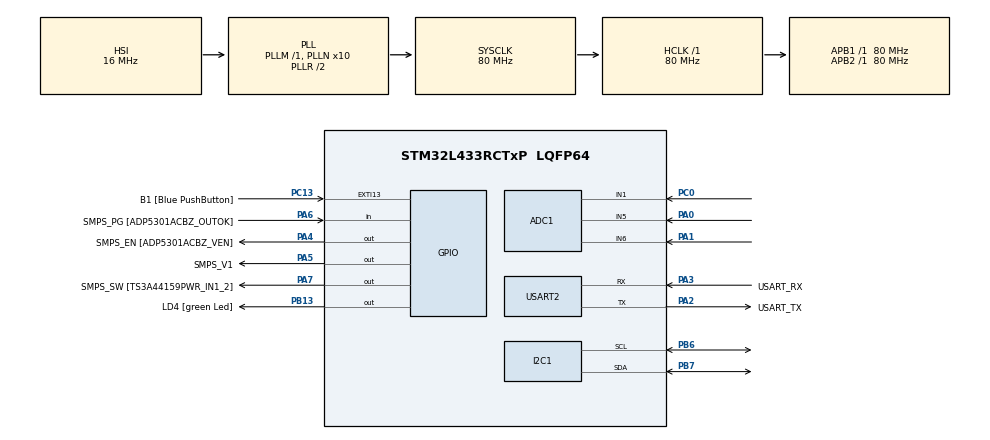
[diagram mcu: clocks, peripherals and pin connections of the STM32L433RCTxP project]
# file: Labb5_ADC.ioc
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ADC1.Channel-0\#ChannelRegularConversion=ADC_CHANNEL_5
ADC1.Channel-1\#ChannelRegularConversion=ADC_CHANNEL_6
ADC1.Channel-2\#ChannelRegularConversion=ADC_CHANNEL_1
ADC1.ContinuousConvMode=ENABLE
ADC1.NbrOfConversion=3
ADC1.NbrOfConversionFlag=1
ADC1.OffsetNumber-0\#ChannelRegularConversion=ADC_OFFSET_NONE
ADC1.OffsetNumber-1\#ChannelRegularConversion=ADC_OFFSET_NONE
ADC1.OffsetNumber-2\#ChannelRegularConversion=ADC_OFFSET_NONE
ADC1.Rank-0\#ChannelRegularConversion=1
ADC1.Rank-1\#ChannelRegularConversion=2
ADC1.Rank-2\#ChannelRegularConversion=3
ADC1.SamplingTime-0\#ChannelRegularConversion=ADC_SAMPLETIME_640CYCLES_5
ADC1.SamplingTime-1\#ChannelRegularConversion=ADC_SAMPLETIME_640CYCLES_5
ADC1.SamplingTime-2\#ChannelRegularConversion=ADC_SAMPLETIME_640CYCLES_5
ADC1.master=1
I2C1.Timing=0x10D19CE4
Mcu.Family=STM32L4
Mcu.Name=STM32L433RCTxP
Mcu.Package=LQFP64
NVIC.ADC1_IRQn=true\:0\:0\:false\:false\:true\:true\:true\:true
NVIC.PriorityGroup=NVIC_PRIORITYGROUP_4
PA0.Signal=ADCx_IN5
PA1.Signal=ADCx_IN6
PA13\ (JTMS-SWDIO).GPIO_Label=TMS
PA13\ (JTMS-SWDIO).Mode=Serial_Wire
PA13\ (JTMS-SWDIO).Signal=SYS_JTMS-SWDIO
PA14\ (JTCK-SWCLK).GPIO_Label=TCK
PA14\ (JTCK-SWCLK).Mode=Serial_Wire
PA14\ (JTCK-SWCLK).Signal=SYS_JTCK-SWCLK
PA2.GPIO_Label=USART_TX
PA2.GPIO_Mode=GPIO_MODE_AF_PP
PA2.GPIO_PuPd=GPIO_NOPULL
PA2.GPIO_Speed=GPIO_SPEED_FREQ_VERY_HIGH
PA2.Mode=Asynchronous
PA2.Signal=USART2_TX
PA3.GPIO_Label=USART_RX
PA3.GPIO_Mode=GPIO_MODE_AF_PP
PA3.GPIO_PuPd=GPIO_NOPULL
PA3.GPIO_Speed=GPIO_SPEED_FREQ_VERY_HIGH
PA3.Mode=Asynchronous
PA3.Signal=USART2_RX
PA4.GPIO_Label=SMPS_EN [ADP5301ACBZ_VEN]
PA4.Signal=GPIO_Output
PA5.GPIO_Label=SMPS_V1
PA5.GPIO_ModeDefaultOutputPP=GPIO_MODE_OUTPUT_PP
PA5.GPIO_PuPd=GPIO_NOPULL
PA5.GPIO_Speed=GPIO_SPEED_FREQ_LOW
PA5.Signal=GPIO_Output
PA6.GPIO_Label=SMPS_PG [ADP5301ACBZ_OUTOK]
PA6.GPIO_PuPd=GPIO_PULLUP
PA6.Signal=GPIO_Input
PA7.GPIO_Label=SMPS_SW [TS3A44159PWR_IN1_2]
PA7.Signal=GPIO_Output
PB13.GPIO_Label=LD4 [green Led]
PB13.Signal=GPIO_Output
PB3\ (JTDO-TRACESWO).GPIO_Label=SWO
PB3\ (JTDO-TRACESWO).Signal=SYS_JTDO-SWO
PB6.Mode=I2C
PB6.Signal=I2C1_SCL
PB7.Mode=I2C
PB7.Signal=I2C1_SDA
PC0.Signal=ADCx_IN1
PC13.GPIO_Label=B1 [Blue PushButton]
PC13.GPIO_ModeDefaultEXTI=GPIO_MODE_IT_FALLING
PC13.GPIO_PuPd=GPIO_NOPULL
PC13.Signal=GPXTI13
PC14-OSC32_IN\ (PC14).Mode=LSE-External-Oscillator
PC14-OSC32_IN\ (PC14).Signal=RCC_OSC32_IN
PC15-OSC32_OUT\ (PC15).Mode=LSE-External-Oscillator
PC15-OSC32_OUT\ (PC15).Signal=RCC_OSC32_OUT
PH0-OSC_IN\ (PH0).GPIO_Label=MCO
PH0-OSC_IN\ (PH0).Mode=HSE-External-Clock-Source
PH0-OSC_IN\ (PH0).Signal=RCC_OSC_IN
PH1-OSC_OUT\ (PH1).Signal=RCC_OSC_OUT
ProjectManager.HeapSize=0x200
ProjectManager.StackSize=0x400
ProjectManager.TargetToolchain=STM32CubeIDE
RCC.ADCFreq_Value=64000000
RCC.AHBFreq_Value=80000000
RCC.APB1Freq_Value=80000000
RCC.APB1TimFreq_Value=80000000
RCC.APB2Freq_Value=80000000
RCC.APB2TimFreq_Value=80000000
RCC.CortexFreq_Value=80000000
RCC.HCLKFreq_Value=80000000
RCC.HSE_VALUE=8000000
RCC.HSI48_VALUE=48000000
RCC.HSI_VALUE=16000000
RCC.MSI_VALUE=4000000
RCC.PLLN=10
RCC.PLLSourceVirtual=RCC_PLLSOURCE_HSI
RCC.PREFETCH_ENABLE=1
RCC.SYSCLKFreq_VALUE=80000000
RCC.SYSCLKSource=RCC_SYSCLKSOURCE_PLLCLK
RCC.USBFreq_Value=64000000
RCC.VCOOutputFreq_Value=160000000
SH.ADCx_IN1.0=ADC1_IN1,IN1-Single-Ended
SH.ADCx_IN5.0=ADC1_IN5,IN5-Single-Ended
SH.ADCx_IN6.0=ADC1_IN6,IN6-Single-Ended
TIM2.Prescaler=79
USART2.VirtualMode-Asynchronous=VM_ASYNC
VP_TIM2_VS_ClockSourceINT.Mode=Internal
board=NUCLEO-L433RC-P

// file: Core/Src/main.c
/* USER CODE BEGIN Header */
/**
 ******************************************************************************
 * @file           : main.c
 * @brief          : Main program body
 ******************************************************************************
 * @attention
 *
 * Copyright (c) 2025 STMicroelectronics.
 * All rights reserved.
 *
 * This software is licensed under terms that can be found in the LICENSE file
 * in the root directory of this software component.
 * If no LICENSE file comes with this software, it is provided AS-IS.
 *
 ******************************************************************************
 */
/* USER CODE END Header */
#include "main.h"

/* USER CODE BEGIN Includes */
#include "lcd.h"
#include <stdio.h>
/* USER CODE END Includes */

ADC_HandleTypeDef hadc1;

I2C_HandleTypeDef hi2c1;

TIM_HandleTypeDef htim2;

UART_HandleTypeDef huart2;

void SystemClock_Config(void);
static void MX_GPIO_Init(void);
static void MX_USART2_UART_Init(void);
static void MX_ADC1_Init(void);
static void MX_I2C1_Init(void);
static void MX_TIM2_Init(void);
/* USER CODE BEGIN PFP */
uint32_t reading = 0;
TextLCDType lcd;
uint16_t x = 0;
uint8_t	ADCSET  = 0;

#define ADC_BUF_SIZE 3
uint16_t adc_buffer[ADC_BUF_SIZE];
int adc_buf_ix = 0;

#define JOY_X_IX 0
#define JOY_Y_IX 1
#define FOTO_IX 2
float xi;
float y;
float light;
/* USER CODE END PFP */

/* USER CODE BEGIN 0 */
uint16_t read_one_adc_value(ADC_HandleTypeDef * hadc)
{
	HAL_ADC_Start(hadc);
	HAL_ADC_PollForConversion(hadc, 100); // timeout = 100 ms
	uint32_t value = HAL_ADC_GetValue(hadc);
	HAL_ADC_Stop(hadc);
	return (uint16_t)value;
}
float normalize_12bit(uint16_t x) {
	return (float)x / 4095.0f;
}
float normalize_12bit_posneg(uint16_t x) {
	return ((float)x - 2048.0f) / 2047.0f;
}
void HAL_ADC_ConvCpltCallback(ADC_HandleTypeDef *hadc){
	if(hadc->Instance == ADC1){
		static uint8_t value = 0;
		adc_buffer[value] = HAL_ADC_GetValue(hadc);
		value = (value +1 ) % ADC_BUF_SIZE;
		ADCSET = 1;
	}
}
/* USER CODE END 0 */

int main(void)
{

  /* MCU Configuration--------------------------------------------------------*/

  /* Reset of all peripherals, Initializes the Flash interface and the Systick. */
  HAL_Init();

  /* Configure the system clock */
  SystemClock_Config();

  /* Initialize all configured peripherals */
  MX_GPIO_Init();
  MX_USART2_UART_Init();
  MX_ADC1_Init();
  MX_I2C1_Init();
  MX_TIM2_Init();
  /* USER CODE BEGIN 2 */
  	HAL_TIM_Base_Start(&htim2);
	//uint16_t adc_val = read_one_adc_value(&hadc1);
  	HAL_ADC_Start_IT(&hadc1);
	TextLCD_Init(&lcd, &hi2c1,0x4E);
  /* USER CODE END 2 */

  /* Infinite loop */
  /* USER CODE BEGIN WHILE */
	while (1)
	{
		if(ADCSET)
		{
		 xi = normalize_12bit_posneg(adc_buffer[JOY_X_IX]);
		 y = normalize_12bit_posneg(adc_buffer[JOY_Y_IX]);
		 light = normalize_12bit(adc_buffer[FOTO_IX]);

		char line[16];

		TextLCD_Position(&lcd, 0, 0);
		sprintf(line, "X:%+.2f Y:%+.2f", xi, y);
		TextLCD_PutStr(&lcd ,line);
		HAL_Delay(60);
		TextLCD_Position(&lcd, 0,1);
		sprintf(line, "Lj:%0.3f       ", light);
		TextLCD_PutStr(&lcd ,line);

		ADCSET = 0;
		HAL_Delay(500);
		}
    /* USER CODE END WHILE */

	}
}

void SystemClock_Config(void)
{
  RCC_OscInitTypeDef RCC_OscInitStruct = {0};
  RCC_ClkInitTypeDef RCC_ClkInitStruct = {0};

  /** Configure the main internal regulator output voltage
  */
  if (HAL_PWREx_ControlVoltageScaling(PWR_REGULATOR_VOLTAGE_SCALE1) != HAL_OK)
  {
    Error_Handler();
  }

  /** Initializes the RCC Oscillators according to the specified parameters
  * in the RCC_OscInitTypeDef structure.
  */
  RCC_OscInitStruct.OscillatorType = RCC_OSCILLATORTYPE_HSI;
  RCC_OscInitStruct.HSIState = RCC_HSI_ON;
  RCC_OscInitStruct.HSICalibrationValue = RCC_HSICALIBRATION_DEFAULT;
  RCC_OscInitStruct.PLL.PLLState = RCC_PLL_ON;
  RCC_OscInitStruct.PLL.PLLSource = RCC_PLLSOURCE_HSI;
  RCC_OscInitStruct.PLL.PLLM = 1;
  RCC_OscInitStruct.PLL.PLLN = 10;
  RCC_OscInitStruct.PLL.PLLP = RCC_PLLP_DIV7;
  RCC_OscInitStruct.PLL.PLLQ = RCC_PLLQ_DIV2;
  RCC_OscInitStruct.PLL.PLLR = RCC_PLLR_DIV2;
  if (HAL_RCC_OscConfig(&RCC_OscInitStruct) != HAL_OK)
  {
    Error_Handler();
  }

  /** Initializes the CPU, AHB and APB buses clocks
  */
  RCC_ClkInitStruct.ClockType = RCC_CLOCKTYPE_HCLK|RCC_CLOCKTYPE_SYSCLK
                              |RCC_CLOCKTYPE_PCLK1|RCC_CLOCKTYPE_PCLK2;
  RCC_ClkInitStruct.SYSCLKSource = RCC_SYSCLKSOURCE_PLLCLK;
  RCC_ClkInitStruct.AHBCLKDivider = RCC_SYSCLK_DIV1;
  RCC_ClkInitStruct.APB1CLKDivider = RCC_HCLK_DIV1;
  RCC_ClkInitStruct.APB2CLKDivider = RCC_HCLK_DIV1;

  if (HAL_RCC_ClockConfig(&RCC_ClkInitStruct, FLASH_LATENCY_4) != HAL_OK)
  {
    Error_Handler();
  }
}

static void MX_ADC1_Init(void)
{

  ADC_ChannelConfTypeDef sConfig = {0};

  /** Common config
  */
  hadc1.Instance = ADC1;
  hadc1.Init.ClockPrescaler = ADC_CLOCK_ASYNC_DIV1;
  hadc1.Init.Resolution = ADC_RESOLUTION_12B;
  hadc1.Init.DataAlign = ADC_DATAALIGN_RIGHT;
  hadc1.Init.ScanConvMode = ADC_SCAN_ENABLE;
  hadc1.Init.EOCSelection = ADC_EOC_SINGLE_CONV;
  hadc1.Init.LowPowerAutoWait = DISABLE;
  hadc1.Init.ContinuousConvMode = ENABLE;
  hadc1.Init.NbrOfConversion = 3;
  hadc1.Init.DiscontinuousConvMode = DISABLE;
  hadc1.Init.ExternalTrigConv = ADC_SOFTWARE_START;
  hadc1.Init.ExternalTrigConvEdge = ADC_EXTERNALTRIGCONVEDGE_NONE;
  hadc1.Init.DMAContinuousRequests = DISABLE;
  hadc1.Init.Overrun = ADC_OVR_DATA_PRESERVED;
  hadc1.Init.OversamplingMode = DISABLE;
  if (HAL_ADC_Init(&hadc1) != HAL_OK)
  {
    Error_Handler();
  }

  /** Configure Regular Channel
  */
  sConfig.Channel = ADC_CHANNEL_5;
  sConfig.Rank = ADC_REGULAR_RANK_1;
  sConfig.SamplingTime = ADC_SAMPLETIME_640CYCLES_5;
  sConfig.SingleDiff = ADC_SINGLE_ENDED;
  sConfig.OffsetNumber = ADC_OFFSET_NONE;
  sConfig.Offset = 0;
  if (HAL_ADC_ConfigChannel(&hadc1, &sConfig) != HAL_OK)
  {
    Error_Handler();
  }

  /** Configure Regular Channel
  */
  sConfig.Channel = ADC_CHANNEL_6;
  sConfig.Rank = ADC_REGULAR_RANK_2;
  if (HAL_ADC_ConfigChannel(&hadc1, &sConfig) != HAL_OK)
  {
    Error_Handler();
  }

  /** Configure Regular Channel
  */
  sConfig.Channel = ADC_CHANNEL_1;
  sConfig.Rank = ADC_REGULAR_RANK_3;
  if (HAL_ADC_ConfigChannel(&hadc1, &sConfig) != HAL_OK)
  {
    Error_Handler();
  }
  /* USER CODE BEGIN ADC1_Init 2 */
  sConfig.Channel = ADC_CHANNEL_6;
  sConfig.Rank = ADC_REGULAR_RANK_2;
  if (HAL_ADC_ConfigChannel(&hadc1, &sConfig) != HAL_OK)
  {
      Error_Handler();
  }
  sConfig.Channel = ADC_CHANNEL_1;
  sConfig.Rank = ADC_REGULAR_RANK_3;
  if (HAL_ADC_ConfigChannel(&hadc1, &sConfig) != HAL_OK)
  {
      Error_Handler();
  }
  /* USER CODE END ADC1_Init 2 */

}

static void MX_I2C1_Init(void)
{

  hi2c1.Instance = I2C1;
  hi2c1.Init.Timing = 0x10D19CE4;
  hi2c1.Init.OwnAddress1 = 0;
  hi2c1.Init.AddressingMode = I2C_ADDRESSINGMODE_7BIT;
  hi2c1.Init.DualAddressMode = I2C_DUALADDRESS_DISABLE;
  hi2c1.Init.OwnAddress2 = 0;
  hi2c1.Init.OwnAddress2Masks = I2C_OA2_NOMASK;
  hi2c1.Init.GeneralCallMode = I2C_GENERALCALL_DISABLE;
  hi2c1.Init.NoStretchMode = I2C_NOSTRETCH_DISABLE;
  if (HAL_I2C_Init(&hi2c1) != HAL_OK)
  {
    Error_Handler();
  }

  /** Configure Analogue filter
  */
  if (HAL_I2CEx_ConfigAnalogFilter(&hi2c1, I2C_ANALOGFILTER_ENABLE) != HAL_OK)
  {
    Error_Handler();
  }

  /** Configure Digital filter
  */
  if (HAL_I2CEx_ConfigDigitalFilter(&hi2c1, 0) != HAL_OK)
  {
    Error_Handler();
  }

}

static void MX_TIM2_Init(void)
{

  TIM_ClockConfigTypeDef sClockSourceConfig = {0};
  TIM_MasterConfigTypeDef sMasterConfig = {0};

  htim2.Instance = TIM2;
  htim2.Init.Prescaler = 79;
  htim2.Init.CounterMode = TIM_COUNTERMODE_UP;
  htim2.Init.Period = 4294967295;
  htim2.Init.ClockDivision = TIM_CLOCKDIVISION_DIV1;
  htim2.Init.AutoReloadPreload = TIM_AUTORELOAD_PRELOAD_DISABLE;
  if (HAL_TIM_Base_Init(&htim2) != HAL_OK)
  {
    Error_Handler();
  }
  sClockSourceConfig.ClockSource = TIM_CLOCKSOURCE_INTERNAL;
  if (HAL_TIM_ConfigClockSource(&htim2, &sClockSourceConfig) != HAL_OK)
  {
    Error_Handler();
  }
  sMasterConfig.MasterOutputTrigger = TIM_TRGO_RESET;
  sMasterConfig.MasterSlaveMode = TIM_MASTERSLAVEMODE_DISABLE;
  if (HAL_TIMEx_MasterConfigSynchronization(&htim2, &sMasterConfig) != HAL_OK)
  {
    Error_Handler();
  }

}

static void MX_USART2_UART_Init(void)
{

  huart2.Instance = USART2;
  huart2.Init.BaudRate = 115200;
  huart2.Init.WordLength = UART_WORDLENGTH_8B;
  huart2.Init.StopBits = UART_STOPBITS_1;
  huart2.Init.Parity = UART_PARITY_NONE;
  huart2.Init.Mode = UART_MODE_TX_RX;
  huart2.Init.HwFlowCtl = UART_HWCONTROL_NONE;
  huart2.Init.OverSampling = UART_OVERSAMPLING_16;
  huart2.Init.OneBitSampling = UART_ONE_BIT_SAMPLE_DISABLE;
  huart2.AdvancedInit.AdvFeatureInit = UART_ADVFEATURE_NO_INIT;
  if (HAL_UART_Init(&huart2) != HAL_OK)
  {
    Error_Handler();
  }

}

static void MX_GPIO_Init(void)
{
  GPIO_InitTypeDef GPIO_InitStruct = {0};

  /* GPIO Ports Clock Enable */
  __HAL_RCC_GPIOC_CLK_ENABLE();
  __HAL_RCC_GPIOH_CLK_ENABLE();
  __HAL_RCC_GPIOA_CLK_ENABLE();
  __HAL_RCC_GPIOB_CLK_ENABLE();

  /*Configure GPIO pin Output Level */
  HAL_GPIO_WritePin(GPIOA, SMPS_EN_Pin|SMPS_V1_Pin|SMPS_SW_Pin, GPIO_PIN_RESET);

  /*Configure GPIO pin Output Level */
  HAL_GPIO_WritePin(LD4_GPIO_Port, LD4_Pin, GPIO_PIN_RESET);

  /*Configure GPIO pin : B1_Pin */
  GPIO_InitStruct.Pin = B1_Pin;
  GPIO_InitStruct.Mode = GPIO_MODE_IT_FALLING;
  GPIO_InitStruct.Pull = GPIO_NOPULL;
  HAL_GPIO_Init(B1_GPIO_Port, &GPIO_InitStruct);

  /*Configure GPIO pins : SMPS_EN_Pin SMPS_V1_Pin SMPS_SW_Pin */
  GPIO_InitStruct.Pin = SMPS_EN_Pin|SMPS_V1_Pin|SMPS_SW_Pin;
  GPIO_InitStruct.Mode = GPIO_MODE_OUTPUT_PP;
  GPIO_InitStruct.Pull = GPIO_NOPULL;
  GPIO_InitStruct.Speed = GPIO_SPEED_FREQ_LOW;
  HAL_GPIO_Init(GPIOA, &GPIO_InitStruct);

  /*Configure GPIO pin : SMPS_PG_Pin */
  GPIO_InitStruct.Pin = SMPS_PG_Pin;
  GPIO_InitStruct.Mode = GPIO_MODE_INPUT;
  GPIO_InitStruct.Pull = GPIO_PULLUP;
  HAL_GPIO_Init(SMPS_PG_GPIO_Port, &GPIO_InitStruct);

  /*Configure GPIO pin : LD4_Pin */
  GPIO_InitStruct.Pin = LD4_Pin;
  GPIO_InitStruct.Mode = GPIO_MODE_OUTPUT_PP;
  GPIO_InitStruct.Pull = GPIO_NOPULL;
  GPIO_InitStruct.Speed = GPIO_SPEED_FREQ_LOW;
  HAL_GPIO_Init(LD4_GPIO_Port, &GPIO_InitStruct);

}

void Error_Handler(void)
{
	__disable_irq();
	while (1)
	{
	}
}
